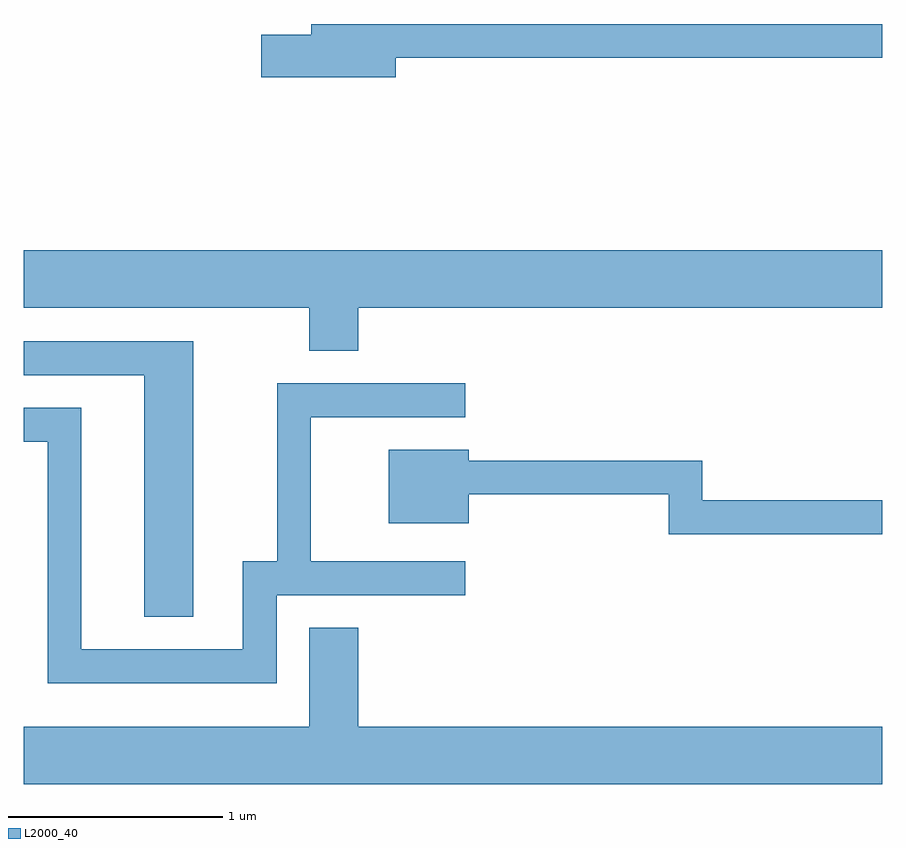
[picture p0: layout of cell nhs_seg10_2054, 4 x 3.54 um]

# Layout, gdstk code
import gdstk
lib = gdstk.Library(unit=1e-6, precision=1e-09)
def P(c, l, *ps):  # polygons
    for p in ps: c.add(gdstk.Polygon(p, *l))
L2000_40 = (2000, 40)

nhs_seg10_2054 = lib.new_cell('nhs_seg10_2054')
P(nhs_seg10_2054, L2000_40, [(247.344,2126.181),(249.611,2126.181),(249.611,2126.339),(246.951,2126.339),(246.951,2126.289),(246.716,2126.289),(246.716,2126.091),(247.344,2126.091)],
  [(247.169,2125.016),(249.611,2125.016),(249.611,2125.284),(245.611,2125.284),(245.611,2125.016),(246.941,2125.016),(246.941,2124.816),(247.169,2124.816)],
  [(246.399,2124.859),(245.611,2124.859),(245.611,2124.701),(246.171,2124.701),(246.171,2123.576),(246.399,2123.576)],
  [(246.789,2123.676),(247.668,2123.676),(247.668,2123.834),(246.949,2123.834),(246.949,2124.506),(247.668,2124.506),(247.668,2124.664),(246.791,2124.664),(246.791,2123.834),(246.631,2123.834),(246.631,2123.424),(245.879,2123.424),(245.879,2124.549),(245.611,2124.549),(245.611,2124.391),(245.721,2124.391),(245.721,2123.266),(246.789,2123.266)],
  [(249.611,2124.119),(248.774,2124.119),(248.774,2124.304),(247.684,2124.304),(247.684,2124.354),(247.311,2124.354),(247.311,2124.011),(247.684,2124.011),(247.684,2124.146),(248.616,2124.146),(248.616,2123.961),(249.611,2123.961)],
  [(249.611,2123.064),(247.169,2123.064),(247.169,2123.524),(246.941,2123.524),(246.941,2123.064),(245.611,2123.064),(245.611,2122.796),(249.611,2122.796)])

lib.write_gds('nhs_seg10_2054.gds')
